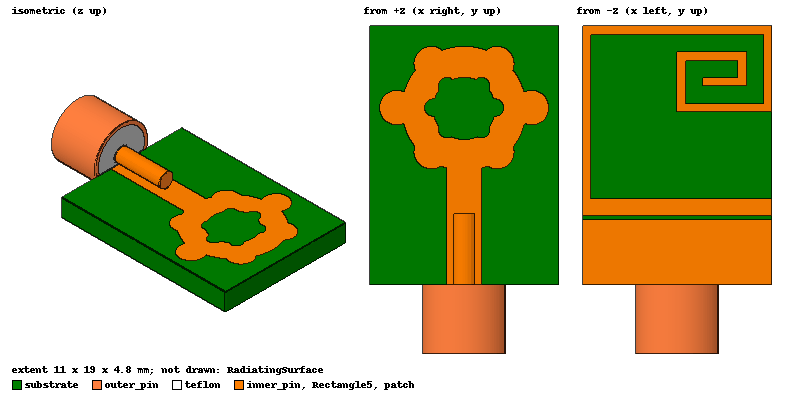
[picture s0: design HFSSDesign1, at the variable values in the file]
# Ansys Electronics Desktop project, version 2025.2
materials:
  vacuum: permittivity=1
  FR4_epoxy: permittivity=4.4 dielectric_loss_tangent=0.02
  teflon_based: permittivity=2.08 dielectric_loss_tangent=0.001
  pec: conductivity=1e+30
  Teflon (tm): permittivity=2.1 dielectric_loss_tangent=0.001
  copper: permeability=0.999991 conductivity=58000000
  perfect conductor: conductivity=1e+30
  air: permittivity=1.0006 permeability=1.0000004

design HFSSDesign1 (HFSS, HFSS Modal Network, model units mm)
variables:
  ws = 11mm
  ls = 15mm
  h = 1.6mm
  lf = 6.79mm
  wf = 2mm
  wg = 11mm
  lgsc = 3.75mm
  lgth = 1mm
  h1 = 9.5mm
  h2 = 10mm
  h3 = 4mm
  h4 = 4.5mm
  h5 = 2.5mm
  h6 = 3mm
  h7 = 1mm
  h8 = 2mm
  ri = 0.65mm
  rm = 2.1mm
  SX = 7.35mm
  SY = 2.5mm
  SZ = 6.35mm
  p = 4.09mm
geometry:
  substrate [FR4_epoxy] = box(corner=(-ws/2, -ls/2, 0mm), size=(ws, ls, h))
  Circle1 = circle(normal=Z, centre=(0mm, 2.7mm, h), radius=3.6mm)
  patch = rectangle(corner=(-wf/2, -ls/2, h), x_size=wf, y_size=lf)
  Circle2 = circle(normal=Z, centre=(1.9mm, 5.3mm, h), radius=1mm)
  Circle3 = circle(normal=Z, centre=(-1.9mm, 5.3mm, h), radius=1mm)
  Circle4 = circle(normal=Z, centre=(3.9mm, 2.75mm, h), radius=1mm)
  Circle5 = circle(normal=Z, centre=(-3.9mm, 2.75mm, h), radius=1mm)
  Circle6 = circle(normal=Z, centre=(1.9mm, 0.2mm, h), radius=1mm)
  Circle7 = circle(normal=Z, centre=(-1.9mm, 0.2mm, h), radius=1mm)
  Circle7.unite(Circle6, Circle5, Circle4, Circle3, Circle2, Circle1)
  Circle8 = circle(normal=Z, centre=(-1mm, 1.5mm, h), radius=0.5mm)
  Circle14 = circle(normal=Z, centre=(1mm, 1.5mm, h), radius=0.5mm)
  Circle13 = circle(normal=Z, centre=(-1.8mm, 2.75mm, h), radius=0.5mm)
  Circle12 = circle(normal=Z, centre=(1.8mm, 2.75mm, h), radius=0.5mm)
  Circle11 = circle(normal=Z, centre=(-1mm, 4mm, h), radius=0.5mm)
  Circle10 = circle(normal=Z, centre=(1mm, 4mm, h), radius=0.5mm)
  Circle9 = circle(normal=Z, centre=(0mm, 2.7mm, h), radius=1.8mm)
  Circle8.unite(Circle14, Circle13, Circle12, Circle11, Circle10, Circle9)
  patch.unite(Circle7)
  patch.subtract(Circle8)
  ground = rectangle(corner=(ws/2, -ls/2, 0mm), x_size=-11mm, y_size=3.75mm)
  ground_1 = rectangle(corner=(-wg/2, -ls/2+lgsc+0.25mm, 0mm), x_size=wg, y_size=lgth)
  Rectangle5 = rectangle(corner=(ws/2, -ls/2+lgsc+lgth+0.25mm, 0mm), x_size=-0.5mm, y_size=h1+0.2mm)
  Rectangle6 = rectangle(corner=(-ws/2, ls/2, 0mm), x_size=h2+1mm, y_size=-0.5mm)
  Rectangle7 = rectangle(corner=(-ws/2, ls/2-0.5mm, 0mm), x_size=0.5mm, y_size=-h3-0.5mm)
  Rectangle8 = rectangle(corner=(-ws/2+0.5mm, ls/2-h3-0.5mm, 0mm), x_size=h4+0.5mm, y_size=-0.5mm)
  Rectangle9 = rectangle(corner=(0mm, ls/2-h3-0.5mm, 0mm), x_size=-0.5mm, y_size=h5+0.5mm)
  Rectangle10 = rectangle(corner=(-0.5mm, ls/2-h3+h5-0.5mm, 0mm), x_size=-h6-0.5mm, y_size=0.5mm)
  Rectangle11 = rectangle(corner=(-0.5mm-h6, ls/2-0.5mm-h3+h5, 0mm), x_size=-0.5mm, y_size=-h7-0.5mm)
  Rectangle12 = rectangle(corner=(-0.5mm-h6, ls/2-h3-0.5mm+h5-h7, 0mm), x_size=h8, y_size=-0.5mm)
  ground_1.unite(ground)
  inner_pin [pec] = cylinder(axis=Y, base_centre=(0mm, -ls/2+p, h+0.64mm), radius=0.62mm, height=-p)
  outer_pin [pec] = cylinder(axis=Y, base_centre=(0mm, -ls/2, h+0.64mm), radius=2.4mm, height=-4mm)
  teflon [Teflon (tm)] = cylinder(axis=Y, base_centre=(0mm, -ls/2, h+0.64mm), radius=2.1mm, height=-4mm)
  teflon_1 = teflon.copy()
  outer_pin.subtract(teflon_1)
  Cylinder2 = cylinder(axis=Y, base_centre=(0mm, -ls/2, h+0.64mm), radius=0.62mm, height=-4mm)
  Cylinder2_1 = Cylinder2.copy()
  teflon.subtract(Cylinder2_1)
  Circle15 = circle(normal=Y, centre=(0mm, -ls/2-4mm, h+0.64mm), radius=2.4mm)
  RadiatingSurface [air] = region(absolute_offset=55.865922mm on all sides)
  inner_pin.unite(Cylinder2)
  Rectangle5.unite(ground_1, Rectangle6..Rectangle12)
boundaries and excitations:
  PerfE1: Perfect E Objects=patch
  Open1: Radiation Objects=RadiatingSurface
  PerfE2: Perfect E Objects=Rectangle5
  1: Lumped Port Objects=Circle15 LumpedPortType=Modal Modes{Mode1{IntLine{(0, -11.5, 2.86) -> (0, -11.5, 4.34)} CharImp=Zpi}} Impedance=50ohm
  reference conductors: Cylinder2, outer_pin
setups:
  Setup1: HfssDriven MultipleAdaptiveFreqsSetup{AdaptAt{Frequency=1.79GHz Delta=0.02} AdaptAt{Frequency=3.84GHz Delta=0.02} AdaptAt{Frequency=7.34GHz Delta=0.02} AdaptAt{Frequency=9.08GHz Delta=0.02} AdaptAt{Frequency=11.44GHz Delta=0.02} AdaptAt{Frequency=14.6GHz Delta=0.02}} MaximumPasses=6 MinimumPasses=1 MinimumConvergedPasses=1 PercentRefinement=30 BasisOrder=1 PortAccuracy=2 DrivenSolverType="Direct Solver"
    sweep Sweep: 0.1GHz to 21.005GHz, 401 points; Type=Interpolating InterpTolerance=0.5 InterpMaxSolns=250 InterpUsePortImped=false PassivityErrorTolerance=0.0001
  Setup2: HfssDriven Frequency=1.79GHz MaxDeltaS=0.02 MaximumPasses=6 MinimumPasses=1 MinimumConvergedPasses=1 PercentRefinement=30 BasisOrder=1 PortAccuracy=2 DrivenSolverType="Direct Solver"
    sweep Sweep: 0.895GHz to 2.685GHz, 401 points; Type=Interpolating InterpTolerance=0.5 InterpMaxSolns=250 InterpUsePortImped=false PassivityErrorTolerance=0.0001
  Setup3: HfssDriven Frequency=3.84GHz MaxDeltaS=0.02 MaximumPasses=6 MinimumPasses=1 MinimumConvergedPasses=1 PercentRefinement=30 BasisOrder=1 PortAccuracy=2 DrivenSolverType="Direct Solver"
    sweep Sweep: 1.92GHz to 5.76GHz, 401 points; Type=Interpolating InterpTolerance=0.5 InterpMaxSolns=250 InterpUsePortImped=false PassivityErrorTolerance=0.0001
  Setup4: HfssDriven Frequency=7.34GHz MaxDeltaS=0.02 MaximumPasses=6 MinimumPasses=1 MinimumConvergedPasses=1 PercentRefinement=30 BasisOrder=1 PortAccuracy=2 DrivenSolverType="Direct Solver"
    sweep Sweep: 3.67GHz to 11.01GHz, 401 points; Type=Interpolating InterpTolerance=0.5 InterpMaxSolns=250 InterpUsePortImped=false PassivityErrorTolerance=0.0001
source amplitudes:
  1:1: 1V 0deg
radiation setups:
  3D: Infinite Sphere Theta=-180deg..180deg step 2deg Phi=0deg..180deg step 0deg
  Elevation: Infinite Sphere Theta=-180deg..180deg step 1deg Phi=0deg..90deg step 90deg
  Azimuth: Infinite Sphere Theta=90deg..90deg step 0deg Phi=-180deg..180deg step 1deg
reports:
  S Parameter Plot1: dB(S(1,1)) vs Freq on Setup1 : Sweep
  Gain Plot1: dB(GainTotal) vs Phi, Theta on Setup1 : LastAdaptive, 3D [Freq=1.79GHz]
  S Parameter Plot2: dB(S(1,1)) vs Freq on Setup2 : Sweep
  Gain Plot2: dB(GainTotal) vs Phi, Theta on Setup2 : LastAdaptive, 3D [Freq=1.79GHz]
  S Parameter Plot3: dB(S(1,1)) vs Freq on Setup3 : Sweep
  Gain Plot3: dB(GainTotal) vs Phi, Theta on Setup3 : LastAdaptive, 3D [Freq=3.84GHz]
  S Parameter Plot4: dB(S(1,1)) vs Freq on Setup4 : Sweep
  Gain Plot4: GainTotal vs Phi, Theta on Setup4 : LastAdaptive, 3D [Freq=7.34GHz]
  Gain Plot5: dB(GainTotal) vs Theta on Setup1 : LastAdaptive, 3D [Phi=all Freq=1.79GHz]
  Gain Plot6: dB(GainTotal) vs Theta on Setup2 : LastAdaptive, 3D [Phi=all Freq=1.79GHz]
  Gain Plot7: dB(GainTotal) vs Theta on Setup3 : LastAdaptive, 3D [Phi=all Freq=3.84GHz]
  Gain Plot8: dB(GainTotal) vs Theta on Setup4 : LastAdaptive, 3D [Phi=all Freq=7.34GHz]
